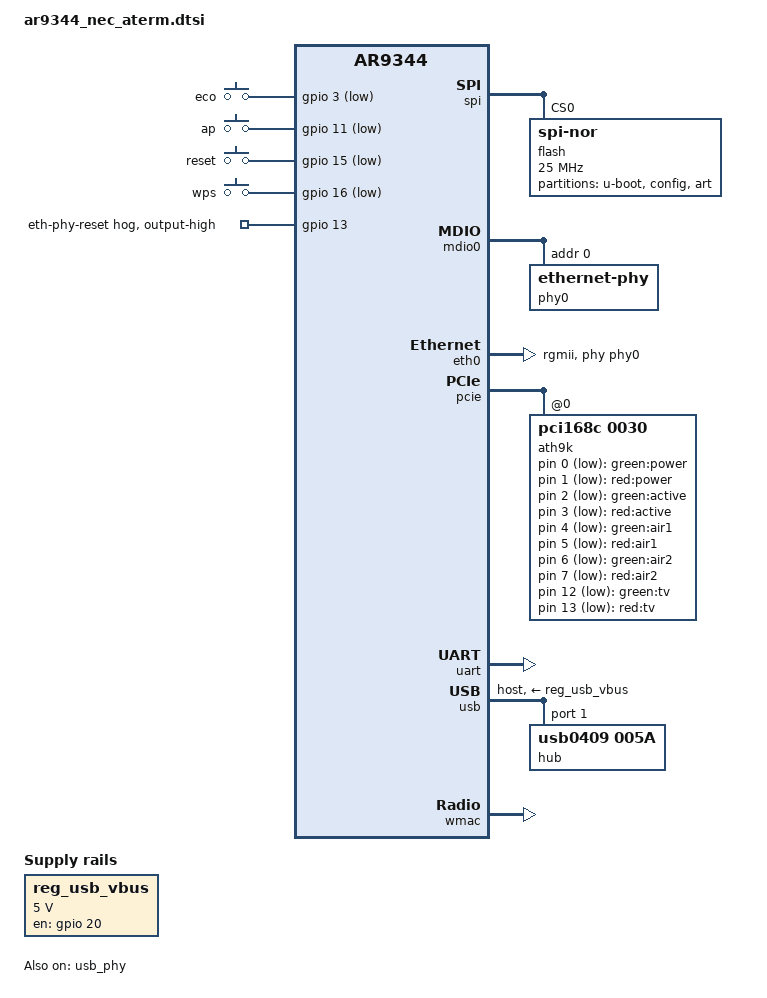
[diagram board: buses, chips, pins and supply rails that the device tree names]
// SPDX-License-Identifier: GPL-2.0-or-later OR MIT

#include <dt-bindings/gpio/gpio.h>
#include <dt-bindings/input/input.h>

#include "ar9344.dtsi"

/ {
	chosen {
		bootargs = "console=ttyS0,9600";
	};

	aliases {
		led-boot = &led_power_green;
		led-failsafe = &led_power_red;
		led-running = &led_power_green;
		led-upgrade = &led_power_green;
	};

	keys: keys {
		compatible = "gpio-keys";
		pinctrl-names = "default";
		pinctrl-0 = <&jtag_disable_pins>;

		eco {
			label = "eco";
			gpios = <&gpio 3 GPIO_ACTIVE_LOW>;
			linux,code = <BTN_0>;
			debounce-interval = <60>;
		};

		ap {
			label = "ap";
			gpios = <&gpio 11 GPIO_ACTIVE_LOW>;
			linux,code = <BTN_1>;
			linux,input-type = <EV_SW>;
			debounce-interval = <60>;
		};

		reset {
			label = "reset";
			gpios = <&gpio 15 GPIO_ACTIVE_LOW>;
			linux,code = <KEY_RESTART>;
			debounce-interval = <60>;
		};

		wps {
			label = "wps";
			gpios = <&gpio 16 GPIO_ACTIVE_LOW>;
			linux,code = <KEY_WPS_BUTTON>;
			debounce-interval = <60>;
		};
	};

	ath9k_leds: ath9k-leds {
		/* all LEDs are connected to ath9k chip (AR9382) */
		compatible = "gpio-leds";

		led_power_green: power_green {
			label = "green:power";
			gpios = <&ath9k 0 GPIO_ACTIVE_LOW>;
			default-state = "on";
		};

		led_power_red: power_red {
			label = "red:power";
			gpios = <&ath9k 1 GPIO_ACTIVE_LOW>;
		};

		active_green {
			label = "green:active";
			gpios = <&ath9k 2 GPIO_ACTIVE_LOW>;
		};

		active_red {
			label = "red:active";
			gpios = <&ath9k 3 GPIO_ACTIVE_LOW>;
		};

		air1_green {
			label = "green:air1";
			gpios = <&ath9k 4 GPIO_ACTIVE_LOW>;
			linux,default-trigger = "phy0tpt";
		};

		air1_red {
			label = "red:air1";
			gpios = <&ath9k 5 GPIO_ACTIVE_LOW>;
		};

		air2_green {
			label = "green:air2";
			gpios = <&ath9k 6 GPIO_ACTIVE_LOW>;
			linux,default-trigger = "phy1tpt";
		};

		air2_red {
			label = "red:air2";
			gpios = <&ath9k 7 GPIO_ACTIVE_LOW>;
		};

		tv_green {
			label = "green:tv";
			gpios = <&ath9k 12 GPIO_ACTIVE_LOW>;
		};

		tv_red {
			label = "red:tv";
			gpios = <&ath9k 13 GPIO_ACTIVE_LOW>;
		};
	};

	reg_usb_vbus: regulator {
		compatible = "regulator-fixed";

		regulator-name = "usb-vbus";
		regulator-min-microvolt = <5000000>;
		regulator-max-microvolt = <5000000>;

		gpio = <&gpio 20 GPIO_ACTIVE_HIGH>;
		enable-active-high;

		regulator-always-on;
	};
};

&ref {
	clock-frequency = <40000000>;
};

&spi {
	num-cs = <1>;
	status = "okay";

	flash@0 {
		compatible = "jedec,spi-nor";
		reg = <0>;
		spi-max-frequency = <25000000>;

		partitions: partitions {
			compatible = "fixed-partitions";
			#address-cells = <1>;
			#size-cells = <1>;

			/*
			 * OEM bootloader cannot boot OpenWrt from the flash,
			 * need to replace the bootloader to u-boot at first
			 */
			partition@0 {
				label = "u-boot";
				reg = <0x000000 0x020000>;
			};

			/* no compatibility with u-boot */
			config: partition@20000 {
				label = "config";
				reg = <0x020000 0x010000>;
				read-only;
			};

			art: partition@30000 {
				label = "art";
				reg = <0x030000 0x010000>;
				read-only;
			};
		};
	};
};

&mdio0 {
	status = "okay";

	phy0: ethernet-phy@0 {
		reg = <0>;

		qca,ar8327-initvals = <
			0x04 0x07a00000 /* PORT0 PAD MODE CTRL */
			0x50 0xcf37cf37 /* LED_CTRL0 */
			0x54 0x00000000 /* LED_CTRL1 */
			0x58 0x00000000 /* LED_CTRL2 */
			0x5c 0x03ffff00 /* LED_CTRL3 */
			0x7c 0x0000007e /* PORT0_STATUS */
		>;
	};
};

&eth0 {
	status = "okay";

	pll-data = <0x06000000 0x00000101 0x00001616>;

	phy-mode = "rgmii";
	phy-handle = <&phy0>;

	mtd-mac-address = <&config 0x6>;

	gmac-config {
		device = <&gmac>;

		rgmii-gmac0 = <1>;
	};
};

&gpio {
	eth-phy-reset {
		gpio-hog;
		gpios = <13 GPIO_ACTIVE_HIGH>;
		output-high;
	};
};

&pcie {
	status = "okay";

	ath9k: wifi@0,0 {
		compatible = "pci168c,0030";
		reg = <0x0000 0 0 0 0>;
		qca,no-eeprom;
		#gpio-cells = <2>;
		gpio-controller;

		usb-hub-reset {
			gpio-hog;
			gpios = <10 GPIO_ACTIVE_HIGH>;
			output-high;
		};
	};
};

&uart {
	status = "okay";
};

&usb_phy {
	status = "okay";
};

&usb {
	status = "okay";
	#address-cells = <1>;
	#size-cells = <0>;

	dr_mode = "host";
	vbus-supply = <&reg_usb_vbus>;

	hub@1 {
		compatible = "usb0409,005a";
		reg = <1>;
	};
};

&wmac {
	status = "okay";
	mtd-cal-data = <&art 0x1000>;
};
